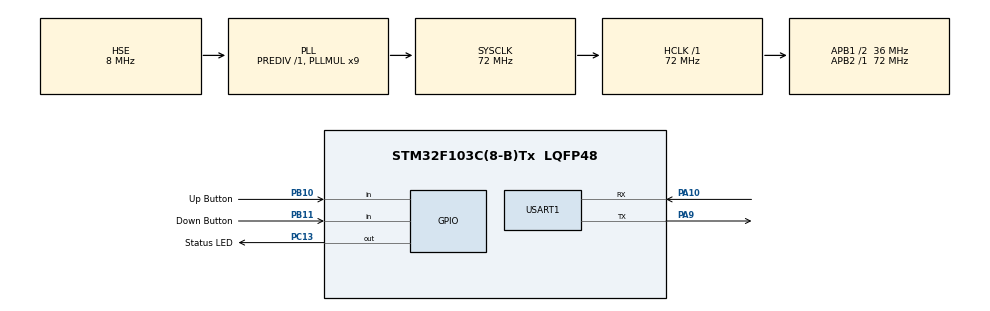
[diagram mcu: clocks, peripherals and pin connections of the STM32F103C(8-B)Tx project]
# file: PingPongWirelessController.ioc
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Mcu.Family=STM32F1
Mcu.Name=STM32F103C(8-B)Tx
Mcu.Package=LQFP48
NVIC.PriorityGroup=NVIC_PRIORITYGROUP_4
PA10.Mode=Asynchronous
PA10.Signal=USART1_RX
PA13.Mode=Serial_Wire
PA13.Signal=SYS_JTMS-SWDIO
PA14.Mode=Serial_Wire
PA14.Signal=SYS_JTCK-SWCLK
PA9.Mode=Asynchronous
PA9.Signal=USART1_TX
PB10.GPIO_Label=Up Button
PB10.GPIO_PuPd=GPIO_PULLUP
PB10.Signal=GPIO_Input
PB11.GPIO_Label=Down Button
PB11.GPIO_PuPd=GPIO_PULLUP
PB11.Signal=GPIO_Input
PC13-TAMPER-RTC.GPIO_Label=Status LED
PC13-TAMPER-RTC.Signal=GPIO_Output
PD0-OSC_IN.Mode=HSE-External-Oscillator
PD0-OSC_IN.Signal=RCC_OSC_IN
PD1-OSC_OUT.Mode=HSE-External-Oscillator
PD1-OSC_OUT.Signal=RCC_OSC_OUT
ProjectManager.HeapSize=0x200
ProjectManager.StackSize=0x400
ProjectManager.TargetToolchain=STM32CubeIDE
RCC.AHBFreq_Value=72000000
RCC.APB1CLKDivider=RCC_HCLK_DIV2
RCC.APB1Freq_Value=36000000
RCC.APB1TimFreq_Value=72000000
RCC.APB2Freq_Value=72000000
RCC.APB2TimFreq_Value=72000000
RCC.HCLKFreq_Value=72000000
RCC.PLLMUL=RCC_PLL_MUL9
RCC.PLLSourceVirtual=RCC_PLLSOURCE_HSE
RCC.SYSCLKFreq_VALUE=72000000
RCC.SYSCLKSource=RCC_SYSCLKSOURCE_PLLCLK
RCC.USBFreq_Value=72000000
USART1.VirtualMode=VM_ASYNC
board=custom

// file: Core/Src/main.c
/* USER CODE BEGIN Header */
/**
  ******************************************************************************
  * @file           : main.c
  * @brief          : Main program body
  ******************************************************************************
  * @attention
  *
  * Copyright (c) 2026 STMicroelectronics.
  * All rights reserved.
  *
  * This software is licensed under terms that can be found in the LICENSE file
  * in the root directory of this software component.
  * If no LICENSE file comes with this software, it is provided AS-IS.
  *
  ******************************************************************************
  */
/* USER CODE END Header */
#include "main.h"

/* USER CODE BEGIN Includes */
#include "ESPLib.h"
/* USER CODE END Includes */

/* USER CODE BEGIN PTD */
#define WIFI_SSID "SNUC"
#define WIFI_PASSWORD "snu12345"

//#define MQTT_BROKER "broker.emqx.io"
#define MQTT_BROKER "10.31.20.9"
/* USER CODE END PTD */

UART_HandleTypeDef huart1;

void SystemClock_Config(void);
static void MX_GPIO_Init(void);
static void MX_USART1_UART_Init(void);

/* USER CODE BEGIN 0 */
//Status LED
void statusLedOn() {
	HAL_GPIO_WritePin(GPIOC, GPIO_PIN_13, GPIO_PIN_RESET);
}

void statusLedOff() {
	HAL_GPIO_WritePin(GPIOC, GPIO_PIN_13, GPIO_PIN_SET);
}

void blinkStatusLED() {
	statusLedOff();
	HAL_Delay(500);
	statusLedOn();
}

/* USER CODE END 0 */

int main(void)
{

  /* MCU Configuration--------------------------------------------------------*/

  /* Reset of all peripherals, Initializes the Flash interface and the Systick. */
  HAL_Init();

  /* Configure the system clock */
  SystemClock_Config();

  /* Initialize all configured peripherals */
  MX_GPIO_Init();
  MX_USART1_UART_Init();
  /* USER CODE BEGIN 2 */
  statusLedOff();
  ESP8266_Init(StationMode, huart1);
  ESP8266_wifiConnect(WIFI_SSID, WIFI_PASSWORD);
  ESP8266_portConnect("TCP", MQTT_BROKER, "1883");

  MQTT_InitTypeDef_t mqtt;
  mqtt.clientID = "STM32_Vishal_SNU";
  mqtt.connectFlag = CleanSession;
  mqtt.keepAlive = 60;

  MQTT_connectBroker(&mqtt);
  statusLedOn();

  uint32_t lastPublish = HAL_GetTick();
  uint8_t lastFunction1 = GPIO_PIN_RESET;

  uint8_t lastFunction2 = GPIO_PIN_RESET;
  uint32_t lastPress1 = 0;
  uint32_t lastPress2 = 0;
  /* USER CODE END 2 */

  /* Infinite loop */
  while (1)
  {
	  uint32_t now = HAL_GetTick();
	  uint8_t curPress1 = HAL_GPIO_ReadPin(GPIOB, GPIO_PIN_10);

	  if ((lastFunction1 == GPIO_PIN_RESET) && (curPress1 == GPIO_PIN_SET)) {
		  lastPress1 = now;
	  }

	  if ((lastFunction1 == GPIO_PIN_SET) && (curPress1 == GPIO_PIN_RESET)) {
		  if ((now-lastPress1) >= 20) {
			  MQTT_publishTopic("VISHAL/arena/avatarA/paddle", "{\"direction\":\"UP\"}", 0);
			  lastPublish = now;
		  }
	  }

	  uint8_t curPress2 = HAL_GPIO_ReadPin(GPIOB, GPIO_PIN_11);

	  if ((lastFunction2 == GPIO_PIN_RESET) && (curPress2 == GPIO_PIN_SET)) {
		  lastPress2 = now;
	  }

	  if ((lastFunction2 == GPIO_PIN_SET) && (curPress2 == GPIO_PIN_RESET)) {
		  if ((now-lastPress2) >= 20) {
			  //Publish Down btn
			  MQTT_publishTopic("VISHAL/arena/avatarA/paddle", "{\"direction\":\"DOWN\"}", 0);
			  lastPublish = now;
		  }
	  }

	  if (now - lastPublish >= 30000) {
		  MQTT_pingReq();
		  lastPublish = now;
	  }
	  lastFunction1 = curPress1;
	  lastFunction2 = curPress2;
  }
}

void SystemClock_Config(void)
{
  RCC_OscInitTypeDef RCC_OscInitStruct = {0};
  RCC_ClkInitTypeDef RCC_ClkInitStruct = {0};

  /** Initializes the RCC Oscillators according to the specified parameters
  * in the RCC_OscInitTypeDef structure.
  */
  RCC_OscInitStruct.OscillatorType = RCC_OSCILLATORTYPE_HSE;
  RCC_OscInitStruct.HSEState = RCC_HSE_ON;
  RCC_OscInitStruct.HSEPredivValue = RCC_HSE_PREDIV_DIV1;
  RCC_OscInitStruct.HSIState = RCC_HSI_ON;
  RCC_OscInitStruct.PLL.PLLState = RCC_PLL_ON;
  RCC_OscInitStruct.PLL.PLLSource = RCC_PLLSOURCE_HSE;
  RCC_OscInitStruct.PLL.PLLMUL = RCC_PLL_MUL9;
  if (HAL_RCC_OscConfig(&RCC_OscInitStruct) != HAL_OK)
  {
    Error_Handler();
  }

  /** Initializes the CPU, AHB and APB buses clocks
  */
  RCC_ClkInitStruct.ClockType = RCC_CLOCKTYPE_HCLK|RCC_CLOCKTYPE_SYSCLK
                              |RCC_CLOCKTYPE_PCLK1|RCC_CLOCKTYPE_PCLK2;
  RCC_ClkInitStruct.SYSCLKSource = RCC_SYSCLKSOURCE_PLLCLK;
  RCC_ClkInitStruct.AHBCLKDivider = RCC_SYSCLK_DIV1;
  RCC_ClkInitStruct.APB1CLKDivider = RCC_HCLK_DIV2;
  RCC_ClkInitStruct.APB2CLKDivider = RCC_HCLK_DIV1;

  if (HAL_RCC_ClockConfig(&RCC_ClkInitStruct, FLASH_LATENCY_2) != HAL_OK)
  {
    Error_Handler();
  }
}

static void MX_USART1_UART_Init(void)
{

  huart1.Instance = USART1;
  huart1.Init.BaudRate = 115200;
  huart1.Init.WordLength = UART_WORDLENGTH_8B;
  huart1.Init.StopBits = UART_STOPBITS_1;
  huart1.Init.Parity = UART_PARITY_NONE;
  huart1.Init.Mode = UART_MODE_TX_RX;
  huart1.Init.HwFlowCtl = UART_HWCONTROL_NONE;
  huart1.Init.OverSampling = UART_OVERSAMPLING_16;
  if (HAL_UART_Init(&huart1) != HAL_OK)
  {
    Error_Handler();
  }

}

static void MX_GPIO_Init(void)
{
  GPIO_InitTypeDef GPIO_InitStruct = {0};

  /* GPIO Ports Clock Enable */
  __HAL_RCC_GPIOC_CLK_ENABLE();
  __HAL_RCC_GPIOD_CLK_ENABLE();
  __HAL_RCC_GPIOB_CLK_ENABLE();
  __HAL_RCC_GPIOA_CLK_ENABLE();

  /*Configure GPIO pin Output Level */
  HAL_GPIO_WritePin(Status_LED_GPIO_Port, Status_LED_Pin, GPIO_PIN_RESET);

  /*Configure GPIO pin : Status_LED_Pin */
  GPIO_InitStruct.Pin = Status_LED_Pin;
  GPIO_InitStruct.Mode = GPIO_MODE_OUTPUT_PP;
  GPIO_InitStruct.Pull = GPIO_NOPULL;
  GPIO_InitStruct.Speed = GPIO_SPEED_FREQ_LOW;
  HAL_GPIO_Init(Status_LED_GPIO_Port, &GPIO_InitStruct);

  /*Configure GPIO pins : Up_Button_Pin Down_Button_Pin */
  GPIO_InitStruct.Pin = Up_Button_Pin|Down_Button_Pin;
  GPIO_InitStruct.Mode = GPIO_MODE_INPUT;
  GPIO_InitStruct.Pull = GPIO_PULLUP;
  HAL_GPIO_Init(GPIOB, &GPIO_InitStruct);

}

void Error_Handler(void)
{
  __disable_irq();
  while (1)
  {
  }
}
